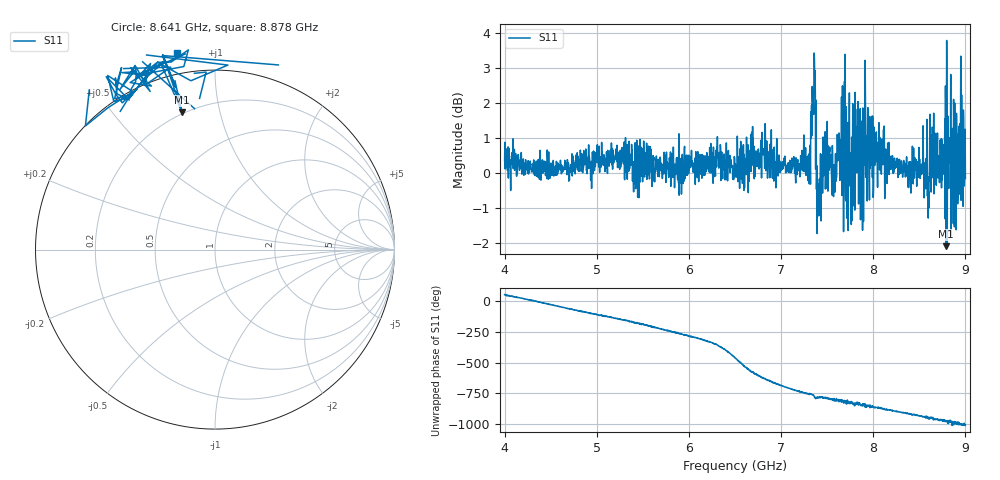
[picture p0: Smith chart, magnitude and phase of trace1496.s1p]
! Created with skrf 1.8.0 (http://scikit-rf.org).
# Hz S RI R 50.0
!freq ReS11 ImS11
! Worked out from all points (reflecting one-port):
!   1601 points, 4 GHz to 9 GHz, reference 50 ohm
!   lowest |S11| = -2.1 dB at 8.791 GHz (marker M1), VSWR 8.36, Z = 9.61 + j38.5 ohm
!   phase of S11 starts at 50 deg and turns -1054 deg over the sweep
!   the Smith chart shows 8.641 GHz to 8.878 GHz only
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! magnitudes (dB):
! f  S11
! 4 GHz  0.3
! 4.625 GHz  0.0
! 5.25 GHz  0.1
! 5.875 GHz  -0.1
! 6.319 GHz  0.4
! 6.5 GHz  -0.1
! 6.803 GHz  0.7
! 7.125 GHz  0.2
! 7.294 GHz  -0.2
! 7.347 GHz  2.0
! 7.362 GHz  3.3
! 7.409 GHz  -1.2
! 7.481 GHz  -0.5
! 7.578 GHz  0.2
! 7.669 GHz  1.7
! 7.722 GHz  0.3
! 7.75 GHz  -0.4
! 7.828 GHz  1.8
! 7.881 GHz  1.5
! 7.928 GHz  1.1
! 8.375 GHz  0.1
! 8.559 GHz  0.2
! 8.584 GHz  1.5
! 8.631 GHz  0.9
! 8.791 GHz  -2.1
! 8.919 GHz  -0.6
! 8.956 GHz  0.4
! 9 GHz  -0.2
